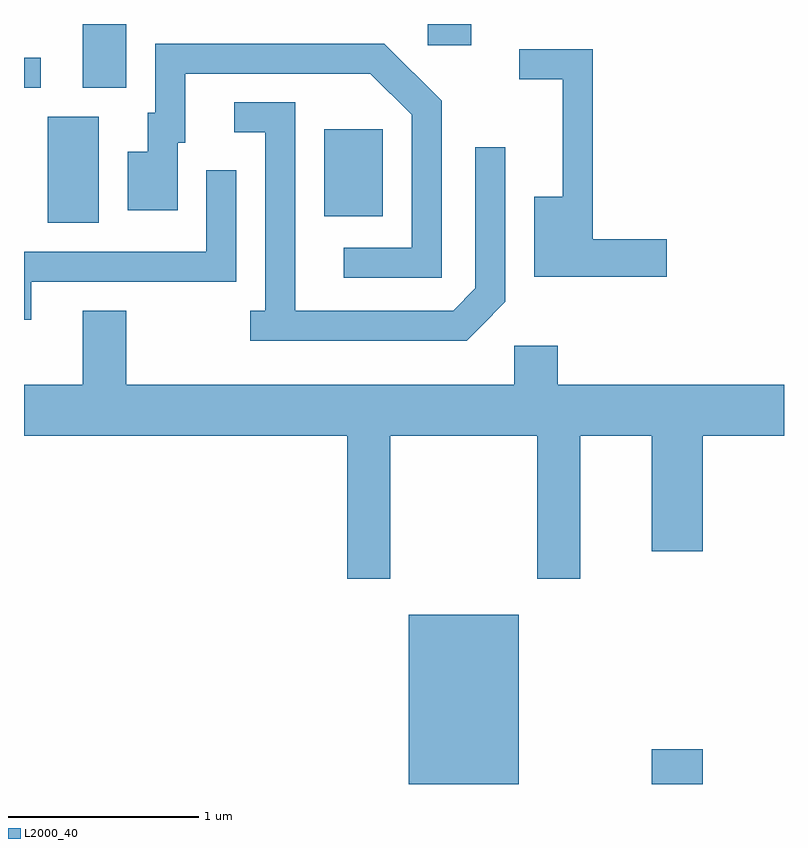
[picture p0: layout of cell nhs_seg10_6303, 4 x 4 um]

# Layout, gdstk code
import gdstk
lib = gdstk.Library(unit=1e-6, precision=1e-09)
def R(c, l, rs):  # rectangles x0, y0, x1, y1
    for r in rs: c.add(gdstk.rectangle(r[:2], r[2:], *l))
def P(c, l, *ps):  # polygons
    for p in ps: c.add(gdstk.Polygon(p, *l))
L2000_40 = (2000, 40)

nhs_seg10_6303 = lib.new_cell('nhs_seg10_6303')
R(nhs_seg10_6303, L2000_40, [(373.636,2116.522,374.214,2117.414), (374.916,2116.522,375.184,2116.704), (371.736,2119.476,372.004,2120.034), (373.191,2119.511,373.499,2119.969), (371.611,2120.186,371.698,2120.344), (371.921,2120.186,372.149,2120.522), (373.736,2120.411,373.964,2120.522)])
P(nhs_seg10_6303, L2000_40, [(373.809,2120.117),(373.507,2120.419),(372.301,2120.419),(372.301,2120.054),(372.261,2120.054),(372.261,2119.849),(372.156,2119.849),(372.156,2119.541),(372.419,2119.541),(372.419,2119.896),(372.459,2119.896),(372.459,2120.261),(373.434,2120.261),(373.651,2120.044),(373.651,2119.344),(373.293,2119.344),(373.293,2119.186),(373.809,2119.186)],
  [(374.994,2119.389),(374.604,2119.389),(374.604,2120.389),(374.218,2120.389),(374.218,2120.231),(374.446,2120.231),(374.446,2119.614),(374.296,2119.614),(374.296,2119.191),(374.994,2119.191)],
  [(374.013,2118.927),(374.144,2119.059),(374.144,2119.873),(373.986,2119.873),(373.986,2119.132),(373.869,2119.014),(373.039,2119.014),(373.039,2120.109),(372.718,2120.109),(372.718,2119.951),(372.881,2119.951),(372.881,2119.014),(372.803,2119.014),(372.803,2118.856),(373.942,2118.856)],
  [(371.649,2119.166),(372.729,2119.166),(372.729,2119.753),(372.571,2119.753),(372.571,2119.324),(371.611,2119.324),(371.611,2118.966),(371.649,2118.966)],
  [(373.539,2118.356),(374.311,2118.356),(374.311,2117.601),(374.539,2117.601),(374.539,2118.356),(374.916,2118.356),(374.916,2117.746),(375.184,2117.746),(375.184,2118.356),(375.611,2118.356),(375.611,2118.624),(374.419,2118.624),(374.419,2118.829),(374.191,2118.829),(374.191,2118.624),(372.149,2118.624),(372.149,2119.014),(371.921,2119.014),(371.921,2118.624),(371.611,2118.624),(371.611,2118.356),(373.311,2118.356),(373.311,2117.601),(373.539,2117.601)])

lib.write_gds('nhs_seg10_6303.gds')
